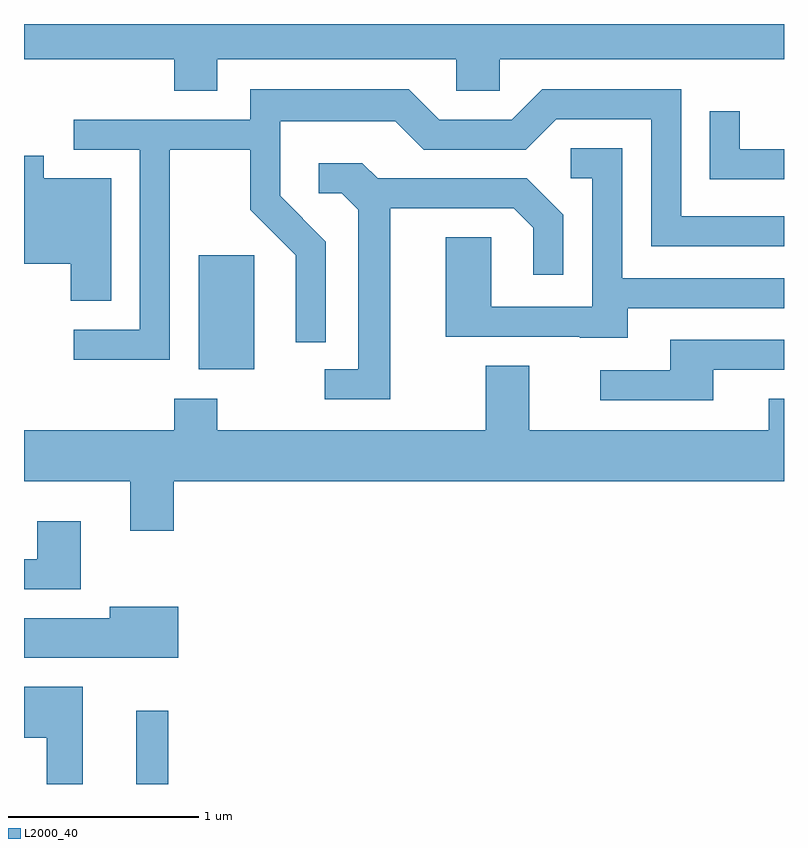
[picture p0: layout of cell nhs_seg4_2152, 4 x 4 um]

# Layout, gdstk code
import gdstk
lib = gdstk.Library(unit=1e-6, precision=1e-09)
def R(c, l, rs):  # rectangles x0, y0, x1, y1
    for r in rs: c.add(gdstk.rectangle(r[:2], r[2:], *l))
def P(c, l, *ps):  # polygons
    for p in ps: c.add(gdstk.Polygon(p, *l))
L2000_40 = (2000, 40)

nhs_seg4_2152 = lib.new_cell('nhs_seg4_2152')
R(nhs_seg4_2152, L2000_40, [(248.201,1341.982,248.369,1342.368), (248.531,1344.166,248.824,1344.764)])
P(nhs_seg4_2152, L2000_40, [(247.611,1345.796),(248.401,1345.796),(248.401,1345.631),(248.629,1345.631),(248.629,1345.796),(249.886,1345.796),(249.886,1345.631),(250.114,1345.631),(250.114,1345.796),(251.611,1345.796),(251.611,1345.982),(247.611,1345.982)],
  [(248.379,1345.321),(248.801,1345.321),(248.801,1345.004),(249.041,1344.764),(249.041,1344.308),(249.199,1344.308),(249.199,1344.837),(248.959,1345.077),(248.959,1345.471),(249.564,1345.471),(249.714,1345.321),(250.252,1345.321),(250.412,1345.481),(250.911,1345.481),(250.911,1344.811),(251.611,1344.811),(251.611,1344.969),(251.069,1344.969),(251.069,1345.639),(250.339,1345.639),(250.179,1345.479),(249.797,1345.479),(249.637,1345.639),(248.801,1345.639),(248.801,1345.479),(247.873,1345.479),(247.873,1345.321),(248.221,1345.321),(248.221,1344.374),(247.873,1344.374),(247.873,1344.216),(248.379,1344.216)],
  [(251.611,1345.324),(251.379,1345.324),(251.379,1345.523),(251.221,1345.523),(251.221,1345.166),(251.611,1345.166)],
  [(250.789,1344.486),(251.611,1344.486),(251.611,1344.644),(250.759,1344.644),(250.759,1345.329),(250.488,1345.329),(250.488,1345.171),(250.601,1345.171),(250.601,1344.494),(250.069,1344.494),(250.069,1344.859),(249.831,1344.859),(249.831,1344.336),(250.535,1344.336),(250.535,1344.331),(250.789,1344.331)],
  [(248.069,1345.169),(247.714,1345.169),(247.714,1345.289),(247.611,1345.289),(247.611,1344.721),(247.856,1344.721),(247.856,1344.526),(248.069,1344.526)],
  [(249.539,1345.011),(250.189,1345.011),(250.291,1344.909),(250.291,1344.663),(250.449,1344.663),(250.449,1344.977),(250.257,1345.169),(249.472,1345.169),(249.392,1345.249),(249.163,1345.249),(249.163,1345.091),(249.284,1345.091),(249.371,1345.004),(249.371,1344.164),(249.193,1344.164),(249.193,1344.006),(249.539,1344.006)],
  [(251.239,1344.161),(251.611,1344.161),(251.611,1344.319),(251.011,1344.319),(251.011,1344.159),(250.643,1344.159),(250.643,1344.001),(251.239,1344.001)],
  [(248.399,1343.576),(251.611,1343.576),(251.611,1344.009),(251.531,1344.009),(251.531,1343.844),(250.269,1343.844),(250.269,1344.184),(250.041,1344.184),(250.041,1343.844),(248.629,1343.844),(248.629,1344.009),(248.401,1344.009),(248.401,1343.844),(247.611,1343.844),(247.611,1343.576),(248.171,1343.576),(248.171,1343.316),(248.399,1343.316)],
  [(247.909,1343.364),(247.681,1343.364),(247.681,1343.164),(247.611,1343.164),(247.611,1343.006),(247.909,1343.006)],
  [(248.424,1342.914),(248.061,1342.914),(248.061,1342.854),(247.611,1342.854),(247.611,1342.646),(248.424,1342.646)],
  [(247.919,1342.494),(247.611,1342.494),(247.611,1342.226),(247.731,1342.226),(247.731,1341.982),(247.919,1341.982)])

lib.write_gds('nhs_seg4_2152.gds')
